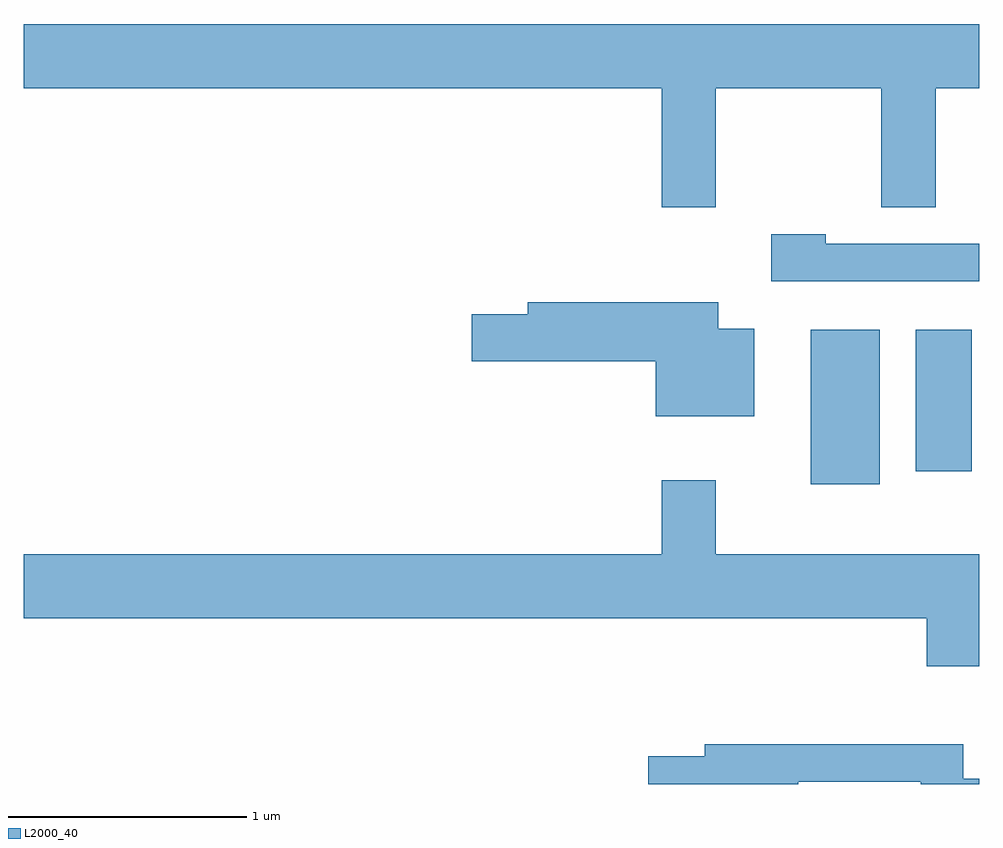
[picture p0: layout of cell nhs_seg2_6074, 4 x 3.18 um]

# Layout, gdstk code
import gdstk
lib = gdstk.Library(unit=1e-6, precision=1e-09)
def R(c, l, rs):  # rectangles x0, y0, x1, y1
    for r in rs: c.add(gdstk.rectangle(r[:2], r[2:], *l))
def P(c, l, *ps):  # polygons
    for p in ps: c.add(gdstk.Polygon(p, *l))
L2000_40 = (2000, 40)

nhs_seg2_6074 = lib.new_cell('nhs_seg2_6074')
R(nhs_seg2_6074, L2000_40, [(366.906,1091.056,367.194,1091.704), (367.346,1091.111,367.579,1091.704)])
P(nhs_seg2_6074, L2000_40, [(366.509,1092.716),(367.201,1092.716),(367.201,1092.216),(367.429,1092.216),(367.429,1092.716),(367.611,1092.716),(367.611,1092.984),(363.611,1092.984),(363.611,1092.716),(366.281,1092.716),(366.281,1092.216),(366.509,1092.216)],
  [(367.611,1092.064),(366.969,1092.064),(366.969,1092.104),(366.741,1092.104),(366.741,1091.906),(367.611,1091.906)],
  [(366.669,1091.709),(366.519,1091.709),(366.519,1091.819),(365.721,1091.819),(365.721,1091.769),(365.486,1091.769),(365.486,1091.571),(366.256,1091.571),(366.256,1091.341),(366.669,1091.341)],
  [(367.611,1090.764),(366.509,1090.764),(366.509,1091.074),(366.281,1091.074),(366.281,1090.764),(363.611,1090.764),(363.611,1090.496),(367.391,1090.496),(367.391,1090.296),(367.611,1090.296)],
  [(366.854,1089.811),(367.366,1089.811),(367.366,1089.802),(367.611,1089.802),(367.611,1089.824),(367.544,1089.824),(367.544,1089.969),(366.461,1089.969),(366.461,1089.919),(366.226,1089.919),(366.226,1089.802),(366.854,1089.802)])

lib.write_gds('nhs_seg2_6074.gds')
